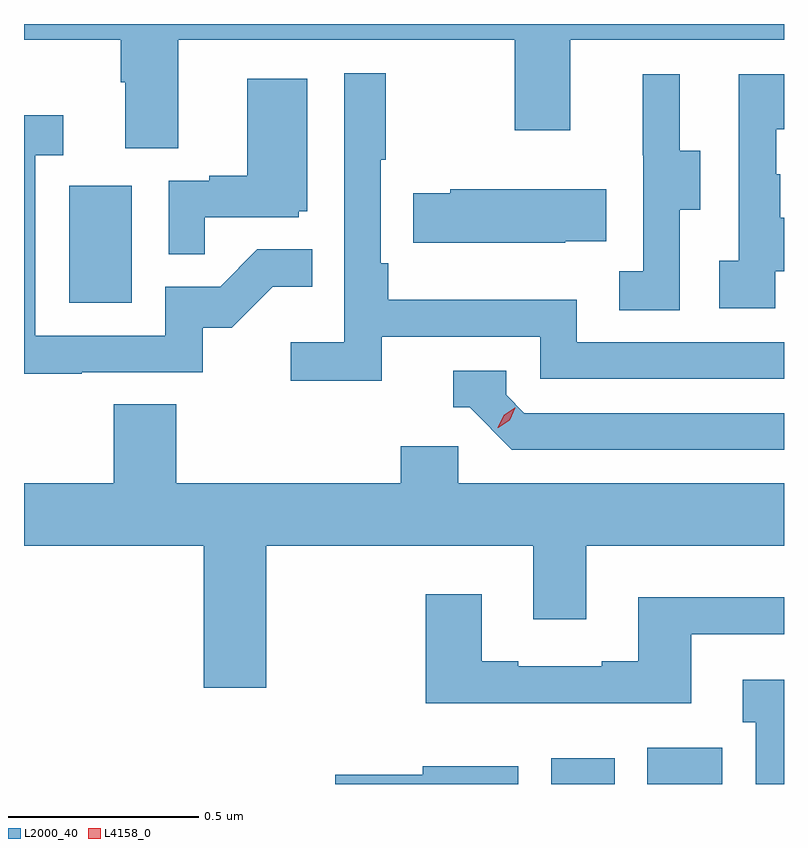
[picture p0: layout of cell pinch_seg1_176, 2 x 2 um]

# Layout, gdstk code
import gdstk
lib = gdstk.Library(unit=1e-6, precision=1e-09)
def R(c, l, rs):  # rectangles x0, y0, x1, y1
    for r in rs: c.add(gdstk.rectangle(r[:2], r[2:], *l))
def P(c, l, *ps):  # polygons
    for p in ps: c.add(gdstk.Polygon(p, *l))
L2000_40 = (2000, 40)
L4158_0 = (4158, 0)

pinch_seg1_176 = lib.new_cell('pinch_seg1_176')
R(pinch_seg1_176, L2000_40, [(1136.951,553.769,1137.118,553.837), (1137.203,553.769,1137.4,553.864), (1135.682,555.036,1135.846,555.343)])
P(pinch_seg1_176, L2000_40, [(1135.969,555.728),(1136.854,555.728),(1136.854,555.489),(1137.001,555.489),(1137.001,555.728),(1137.563,555.728),(1137.563,555.769),(1135.563,555.769),(1135.563,555.728),(1135.817,555.728),(1135.817,555.616),(1135.829,555.616),(1135.829,555.442),(1135.969,555.442)],
  [(1136.504,554.946),(1136.922,554.946),(1136.922,554.835),(1137.563,554.835),(1137.563,554.931),(1137.018,554.931),(1137.018,555.043),(1136.522,555.043),(1136.522,555.139),(1136.502,555.139),(1136.502,555.412),(1136.515,555.412),(1136.515,555.64),(1136.406,555.64),(1136.406,554.932),(1136.265,554.932),(1136.265,554.83),(1136.504,554.83)],
  [(1137.54,555.119),(1137.563,555.119),(1137.563,555.259),(1137.553,555.259),(1137.553,555.374),(1137.543,555.374),(1137.543,555.492),(1137.563,555.492),(1137.563,555.637),(1137.444,555.637),(1137.444,555.146),(1137.393,555.146),(1137.393,555.021),(1137.54,555.021)],
  [(1137.288,555.28),(1137.343,555.28),(1137.343,555.435),(1137.289,555.435),(1137.289,555.637),(1137.191,555.637),(1137.191,555.423),(1137.192,555.423),(1137.192,555.119),(1137.129,555.119),(1137.129,555.016),(1137.288,555.016)],
  [(1136.039,555.261),(1136.286,555.261),(1136.286,555.276),(1136.308,555.276),(1136.308,555.625),(1136.15,555.625),(1136.15,555.37),(1136.051,555.37),(1136.051,555.357),(1135.944,555.357),(1135.944,555.163),(1136.039,555.163)],
  [(1135.715,554.853),(1136.034,554.853),(1136.034,554.97),(1136.11,554.97),(1136.217,555.077),(1136.321,555.077),(1136.321,555.176),(1136.177,555.176),(1136.079,555.078),(1135.935,555.078),(1135.935,554.949),(1135.593,554.949),(1135.593,555.423),(1135.666,555.423),(1135.666,555.529),(1135.563,555.529),(1135.563,554.848),(1135.715,554.848)],
  [(1136.987,555.197),(1137.095,555.197),(1137.095,555.334),(1136.685,555.334),(1136.685,555.324),(1136.587,555.324),(1136.587,555.194),(1136.987,555.194)],
  [(1137.563,554.745),(1136.88,554.745),(1136.832,554.793),(1136.832,554.856),(1136.693,554.856),(1136.693,554.76),(1136.736,554.76),(1136.847,554.649),(1137.563,554.649)],
  [(1136.2,554.396),(1136.903,554.396),(1136.903,554.202),(1137.043,554.202),(1137.043,554.396),(1137.563,554.396),(1137.563,554.56),(1136.706,554.56),(1136.706,554.658),(1136.555,554.658),(1136.555,554.56),(1135.964,554.56),(1135.964,554.768),(1135.799,554.768),(1135.799,554.56),(1135.563,554.56),(1135.563,554.396),(1136.036,554.396),(1136.036,554.022),(1136.2,554.022)],
  [(1137.319,554.163),(1137.563,554.163),(1137.563,554.26),(1137.179,554.26),(1137.179,554.092),(1137.083,554.092),(1137.083,554.079),(1136.863,554.079),(1136.863,554.092),(1136.767,554.092),(1136.767,554.269),(1136.62,554.269),(1136.62,553.982),(1137.319,553.982)],
  [(1137.563,554.044),(1137.455,554.044),(1137.455,553.931),(1137.488,553.931),(1137.488,553.769),(1137.563,553.769)],
  [(1136.863,553.816),(1136.612,553.816),(1136.612,553.793),(1136.382,553.793),(1136.382,553.769),(1136.863,553.769)])
P(pinch_seg1_176, L4158_0, [(1136.81,554.706),(1136.81,554.706),(1136.825,554.739),(1136.855,554.759),(1136.856,554.759),(1136.856,554.759),(1136.841,554.726),(1136.811,554.706)])

lib.write_gds('pinch_seg1_176.gds')
